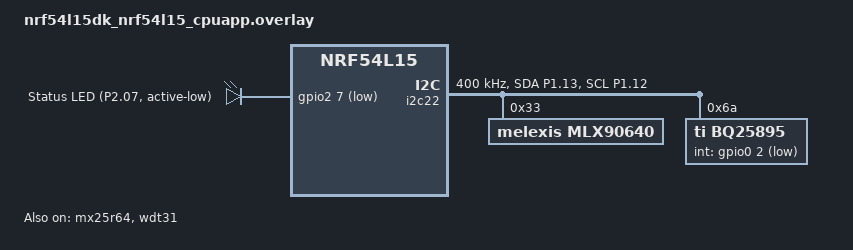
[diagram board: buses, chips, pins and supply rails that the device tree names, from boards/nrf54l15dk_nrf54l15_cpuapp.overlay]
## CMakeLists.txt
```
#
# SPDX-License-Identifier: LicenseRef-Nordic-5-Clause
#
cmake_minimum_required(VERSION 3.20.0)

# Custom DT bindings under ./dts/bindings
list(APPEND DTS_ROOT ${CMAKE_CURRENT_SOURCE_DIR})

find_package(Zephyr REQUIRED HINTS $ENV{ZEPHYR_BASE})
project(peripheral_thermal)

target_include_directories(app PRIVATE src)

target_sources(app PRIVATE
  src/main.c
  src/mlx90640_sensor.c
  src/mlx90640_i2c.c
  src/MLX90640_API.c
  src/bq25895.c
)
```

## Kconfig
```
# SPDX-License-Identifier: LicenseRef-Nordic-5-Clause

mainmenu "Peripheral Thermal Camera"

source "Kconfig.zephyr"

menu "BQ25895 battery profile"

config BQ25895_BATT_CAPACITY_MAH
	int "LiPo cell capacity (mAh)"
	default 200
	range 50 10000
	help
	  Rated capacity of the connected single-cell LiPo.
	  Fast-charge current is derived as ~0.5C (rounded to the
	  BQ25895 64 mA step). Change this when swapping to a larger pack.

config BQ25895_CHARGE_RATE_MILLIC
	int "Charge rate in milli-C (500 = 0.5C)"
	default 500
	range 100 1000
	help
	  Fast-charge rate relative to capacity. 500 = 0.5C (typical LiPo).
	  ICHG = capacity_mAh * rate / 1000, then rounded to 64 mA steps
	  (minimum 64 mA, maximum 3008 mA).

endmenu
```

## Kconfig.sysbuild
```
#
# SPDX-License-Identifier: LicenseRef-Nordic-5-Clause
#

source "share/sysbuild/Kconfig"

config NRF_DEFAULT_IPC_RADIO
	default y

config NETCORE_IPC_RADIO_BT_HCI_IPC
	default y
```

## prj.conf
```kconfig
#
# SPDX-License-Identifier: LicenseRef-Nordic-5-Clause
#
CONFIG_NCS_SAMPLES_DEFAULTS=y

CONFIG_BT=y
CONFIG_BT_PERIPHERAL=y
CONFIG_BT_DEVICE_NAME="ThermalCam"
CONFIG_BT_MAX_CONN=1
CONFIG_BT_SMP=y
CONFIG_BT_FIXED_PASSKEY=y

# Larger ATT MTU → fewer chunks per 32x24 frame
CONFIG_BT_L2CAP_TX_MTU=247
CONFIG_BT_BUF_ACL_RX_SIZE=251
CONFIG_BT_BUF_ACL_TX_SIZE=251
CONFIG_BT_CTLR_DATA_LENGTH_MAX=251
CONFIG_BT_GAP_AUTO_UPDATE_CONN_PARAMS=y

CONFIG_DK_LIBRARY=y
CONFIG_I2C=y
CONFIG_GPIO=y

# LiPo pack on BQ25895 — change when swapping to a larger cell.
CONFIG_BQ25895_BATT_CAPACITY_MAH=200
CONFIG_BQ25895_CHARGE_RATE_MILLIC=500

# Floating-point temperature calculation (Melexis API)
CONFIG_FPU=y
CONFIG_NEWLIB_LIBC=y
CONFIG_CBPRINTF_FP_SUPPORT=y

CONFIG_MAIN_STACK_SIZE=4096
CONFIG_SYSTEM_WORKQUEUE_STACK_SIZE=4096
CONFIG_HEAP_MEM_POOL_SIZE=8192

CONFIG_BT_RX_STACK_SIZE=2560
```

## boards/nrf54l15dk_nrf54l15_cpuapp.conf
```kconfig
#
# SPDX-License-Identifier: LicenseRef-Nordic-5-Clause
#
CONFIG_BT_RX_STACK_SIZE=2560
```

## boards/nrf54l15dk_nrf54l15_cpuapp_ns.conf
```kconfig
#
# SPDX-License-Identifier: LicenseRef-Nordic-5-Clause
#
CONFIG_BT_RX_STACK_SIZE=2560
CONFIG_HEAP_MEM_POOL_SIZE=8192
CONFIG_SYSTEM_WORKQUEUE_STACK_SIZE=4096
```

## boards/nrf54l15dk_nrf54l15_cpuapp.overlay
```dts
/*
 * nRF54L15 DK — MLX90640 on I2C22
 *
 * Wiring (3.3 V logic):
 *   MLX90640 VIN  -> 3V3
 *   MLX90640 GND  -> GND
 *   MLX90640 SCL  -> P1.12  (same as peripheral_status)
 *   MLX90640 SDA  -> P1.13
 *   Status LED    -> P2.07 (DT led2 / DK_LED3), active-low
 *
 * Default I2C address 0x33 (7-bit). BAB / BAA share the same register map.
 *
 * SPDX-License-Identifier: LicenseRef-Nordic-5-Clause
 */

/ {
	aliases {
		watchdog0 = &wdt31;
		battery-charger = &bq25895;
		status-led = &led2;
	};

	chosen {
		nordic,pm-ext-flash = &mx25r64;
	};
};

/* Status LED on P2.07 — external LED is active-low (same as xbox_central). */
&led2 {
	gpios = <&gpio2 7 GPIO_ACTIVE_LOW>;
	label = "Status LED (P2.07, active-low)";
};

&cpuapp_rram {
	reg = <0x0 DT_SIZE_K(1524)>;
};

&cpuapp_sram {
	reg = <0x20000000 DT_SIZE_K(256)>;
	ranges = <0x0 0x20000000 0x40000>;
};

&uart20 {
	/delete-property/ hw-flow-control;
};

&mx25r64 {
	status = "okay";
};

&wdt31 {
	status = "okay";
};

&pinctrl {
	i2c22_default: i2c22_default {
		group1 {
			psels = <NRF_PSEL(TWIM_SDA, 1, 13)>,
				<NRF_PSEL(TWIM_SCL, 1, 12)>;
			bias-pull-up;
		};
	};

	i2c22_sleep: i2c22_sleep {
		group1 {
			psels = <NRF_PSEL(TWIM_SDA, 1, 13)>,
				<NRF_PSEL(TWIM_SCL, 1, 12)>;
			low-power-enable;
			bias-pull-up;
		};
	};
};

&i2c22 {
	status = "okay";
	pinctrl-0 = <&i2c22_default>;
	pinctrl-1 = <&i2c22_sleep>;
	pinctrl-names = "default", "sleep";
	clock-frequency = <I2C_BITRATE_FAST>;
	zephyr,concat-buf-size = <256>;
	zephyr,flash-buf-max-size = <256>;

	mlx90640: mlx90640@33 {
		compatible = "melexis,mlx90640";
		reg = <0x33>;
	};

	/* BQ25895 fixed 7-bit address 0x6A. INT on P0.02 (same as xbox_central). */
	bq25895: charger@6a {
		compatible = "ti,bq25895";
		reg = <0x6a>;
		int-gpios = <&gpio0 2 (GPIO_PULL_UP | GPIO_ACTIVE_LOW)>;
	};
};
```

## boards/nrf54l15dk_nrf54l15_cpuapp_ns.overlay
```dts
/*
 * nRF54L15 DK (cpuapp_ns / TF-M) — MLX90640 on I2C22
 *
 * Wiring (3.3 V logic):
 *   MLX90640 VIN  -> 3V3
 *   MLX90640 GND  -> GND
 *   MLX90640 SCL  -> P1.12  (same as peripheral_status)
 *   MLX90640 SDA  -> P1.13
 *   Status LED    -> P2.07 (DT led2 / DK_LED3), active-low
 *
 * SPDX-License-Identifier: LicenseRef-Nordic-5-Clause
 */

/ {
	aliases {
		watchdog0 = &wdt31;
		battery-charger = &bq25895;
		status-led = &led2;
	};

	chosen {
		nordic,pm-ext-flash = &mx25r64;
	};
};

/* Status LED on P2.07 — external LED is active-low (same as xbox_central). */
&led2 {
	gpios = <&gpio2 7 GPIO_ACTIVE_LOW>;
	label = "Status LED (P2.07, active-low)";
};

&cpuapp_rram {
	reg = <0x0 DT_SIZE_K(1524)>;
};

&cpuapp_sram {
	reg = <0x20000000 DT_SIZE_K(256)>;
	ranges = <0x0 0x20000000 0x40000>;
};

&uart20 {
	/delete-property/ hw-flow-control;
};

&mx25r64 {
	status = "okay";
};

&wdt31 {
	status = "okay";
};

/* TF-M reserves default GPIOTE IRQs; use NS-safe IDs */
&gpiote20 {
	interrupts = <218 NRF_DEFAULT_IRQ_PRIORITY>;
};

&gpiote30 {
	interrupts = <268 NRF_DEFAULT_IRQ_PRIORITY>;
};

&pinctrl {
	i2c22_default: i2c22_default {
		group1 {
			psels = <NRF_PSEL(TWIM_SDA, 1, 13)>,
				<NRF_PSEL(TWIM_SCL, 1, 12)>;
			bias-pull-up;
		};
	};

	i2c22_sleep: i2c22_sleep {
		group1 {
			psels = <NRF_PSEL(TWIM_SDA, 1, 13)>,
				<NRF_PSEL(TWIM_SCL, 1, 12)>;
			low-power-enable;
			bias-pull-up;
		};
	};
};

&i2c22 {
	status = "okay";
	pinctrl-0 = <&i2c22_default>;
	pinctrl-1 = <&i2c22_sleep>;
	pinctrl-names = "default", "sleep";
	clock-frequency = <I2C_BITRATE_FAST>;
	zephyr,concat-buf-size = <256>;
	zephyr,flash-buf-max-size = <256>;

	mlx90640: mlx90640@33 {
		compatible = "melexis,mlx90640";
		reg = <0x33>;
	};

	/* BQ25895 fixed 7-bit address 0x6A. INT on P0.02 (same as xbox_central). */
	bq25895: charger@6a {
		compatible = "ti,bq25895";
		reg = <0x6a>;
		int-gpios = <&gpio0 2 (GPIO_PULL_UP | GPIO_ACTIVE_LOW)>;
	};
};
```

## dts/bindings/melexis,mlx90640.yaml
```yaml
# SPDX-License-Identifier: Apache-2.0
#
# Minimal binding — register-level I2C access in application code.

description: Melexis MLX90640 32x24 FIR array

compatible: "melexis,mlx90640"

include: [i2c-device.yaml]
```

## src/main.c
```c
/*
 * Portable MLX90640 thermal camera — BLE peripheral.
 *
 * Streams 32x24 temperature frames to a phone over a custom GATT service.
 *
 * SPDX-License-Identifier: LicenseRef-Nordic-5-Clause
 */

#include <errno.h>
#include <stddef.h>
#include <stdio.h>
#include <string.h>

#include <zephyr/bluetooth/bluetooth.h>
#include <zephyr/bluetooth/conn.h>
#include <zephyr/bluetooth/gatt.h>
#include <zephyr/bluetooth/hci.h>
#include <zephyr/bluetooth/uuid.h>
#include <zephyr/kernel.h>
#include <zephyr/sys/byteorder.h>
#include <zephyr/sys/printk.h>
#include <zephyr/sys/util.h>
#include <zephyr/types.h>

#include <dk_buttons_and_leds.h>

#include "bq25895.h"
#include "mlx90640_sensor.h"

#define DEVICE_NAME     CONFIG_BT_DEVICE_NAME
#define DEVICE_NAME_LEN (sizeof(DEVICE_NAME) - 1)

/*
 * Status LED is DK LED3 → DT led2 → P2.07 (see board overlay).
 * Single LED for run-mode indication (no separate CON LED).
 */
#define STATUS_LED             DK_LED3
#define WAKE_BUTTON_MSK        DK_BTN1_MSK
#define FIXED_PASSKEY          123456

/* Standby → deep sleep after this idle time without a phone connection. */
#define STANDBY_TO_DEEP_SLEEP_MS (5 * 60 * 1000)
/* Mode LED: solid in WORK; slow blink in STANDBY; off in DEEP_SLEEP. */
#define STANDBY_LED_ON_MS  200
#define STANDBY_LED_OFF_MS 1800

enum run_mode {
	RUN_MODE_WORK = 0,
	RUN_MODE_STANDBY,
	RUN_MODE_DEEP_SLEEP,
};

/* Thermal GATT service — unique base, distinct from peripheral_status */
#define THERMAL_SERVICE_UUID_VAL \
	BT_UUID_128_ENCODE(0x5448524d, 0x0001, 0x1000, 0x8000, 0x00805f9b34fb)

#define THERMAL_FRAME_UUID_VAL \
	BT_UUID_128_ENCODE(0x5448524d, 0x0002, 0x1000, 0x8000, 0x00805f9b34fb)

#define THERMAL_CTRL_UUID_VAL \
	BT_UUID_128_ENCODE(0x5448524d, 0x0003, 0x1000, 0x8000, 0x00805f9b34fb)

#define THERMAL_POWER_UUID_VAL \
	BT_UUID_128_ENCODE(0x5448524d, 0x0004, 0x1000, 0x8000, 0x00805f9b34fb)

#define FRAME_MAGIC          0x5448524DU /* 'THRM' */
#define FRAME_PROTO_VER      0x01
#define FRAME_HEADER_SIZE    18
#define FRAME_MAX_PAYLOAD    226 /* leaves room under typical 244-byte ATT notify */
#define PIXELS_PER_CHUNK     ((FRAME_MAX_PAYLOAD) / 2)

/*
 * GATT attr indices (see BT_GATT_SERVICE_DEFINE):
 *  0 service, 1–2 frame, 3 frame CCC, 4–5 ctrl, 6–7 power, 8 power CCC
 */
#define THERMAL_FRAME_VALUE_ATTR_IDX 2
#define THERMAL_PWR_VALUE_ATTR_IDX   7

#define PWR_FLAG_VALID       BIT(0)
#define PWR_FLAG_POWER_GOOD  BIT(1)
#define PWR_FLAG_VBUS        BIT(2)

#define POWER_HEARTBEAT_IDLE_MS     5000
#define POWER_HEARTBEAT_CHARGING_MS 1000

BUILD_ASSERT(FRAME_HEADER_SIZE + FRAME_MAX_PAYLOAD <= 244);

struct thermal_power_payload {
	uint8_t version;
	uint8_t flags;
	uint8_t charge_state;
	uint8_t vbus_state;
	uint8_t fault;
	uint8_t battery_pct;
	uint16_t batt_mv;
	uint16_t sys_mv;
	uint16_t vbus_mv;
	uint16_t charge_ma;
} __packed;

static struct bt_conn *current_conn;
static bool notify_enabled;
static bool power_notify_enabled;
static struct k_work adv_work;
static struct k_work_delayable power_work;
static struct k_work_delayable deep_sleep_work;
static struct mlx90640_frame frame_buf;
static struct thermal_power_payload power_data;
static uint8_t notify_pkt[FRAME_HEADER_SIZE + FRAME_MAX_PAYLOAD];
static enum run_mode current_mode = RUN_MODE_STANDBY;

static void capture_thread(void *p1, void *p2, void *p3);
static void power_monitor_start(void);
static void advertising_start(void);
static void mode_enter_work(void);
static void mode_enter_standby(void);
static void mode_enter_deep_sleep(void);
static void mode_wake_to_standby(void);
static const char *mode_str(enum run_mode mode);

static void frame_ccc_cfg_changed(const struct bt_gatt_attr *attr, uint16_t value)
{
	ARG_UNUSED(attr);
	notify_enabled = (value == BT_GATT_CCC_NOTIFY);
	printk("Frame notify %s\n", notify_enabled ? "on" : "off");
}

static void power_ccc_cfg_changed(const struct bt_gatt_attr *attr, uint16_t value)
{
	ARG_UNUSED(attr);
	power_notify_enabled = (value == BT_GATT_CCC_NOTIFY);
	printk("Power notify %s\n", power_notify_enabled ? "on" : "off");
	if (power_notify_enabled) {
		(void)k_work_reschedule(&power_work, K_NO_WAIT);
	}
}

static ssize_t ctrl_write(struct bt_conn *conn, const struct bt_gatt_attr *attr,
			  const void *buf, uint16_t len, uint16_t offset,
			  uint8_t flags)
{
	const uint8_t *data = buf;
	int err;

	ARG_UNUSED(conn);
	ARG_UNUSED(attr);
	ARG_UNUSED(flags);

	if (offset != 0 || len < 1) {
		return BT_GATT_ERR(BT_ATT_ERR_INVALID_OFFSET);
	}

	/* Byte0 = Melexis refresh rate code (0=0.5Hz … 5=16Hz). */
	err = mlx90640_set_refresh_rate(data[0]);
	if (err) {
		return BT_GATT_ERR(BT_ATT_ERR_VALUE_NOT_ALLOWED);
	}

	printk("Refresh rate code set to %u\n", data[0]);
	return len;
}

static ssize_t power_read(struct bt_conn *conn, const struct bt_gatt_attr *attr,
			  void *buf, uint16_t len, uint16_t offset)
{
	ARG_UNUSED(attr);
	return bt_gatt_attr_read(conn, attr, buf, len, offset, &power_data,
				 sizeof(power_data));
}

BT_GATT_SERVICE_DEFINE(thermal_svc,
	BT_GATT_PRIMARY_SERVICE(BT_UUID_DECLARE_128(THERMAL_SERVICE_UUID_VAL)),
	BT_GATT_CHARACTERISTIC(BT_UUID_DECLARE_128(THERMAL_FRAME_UUID_VAL),
			       BT_GATT_CHRC_NOTIFY,
			       BT_GATT_PERM_NONE,
			       NULL, NULL, NULL),
	BT_GATT_CCC(frame_ccc_cfg_changed, BT_GATT_PERM_READ | BT_GATT_PERM_WRITE),
	BT_GATT_CHARACTERISTIC(BT_UUID_DECLARE_128(THERMAL_CTRL_UUID_VAL),
			       BT_GATT_CHRC_WRITE | BT_GATT_CHRC_WRITE_WITHOUT_RESP,
			       BT_GATT_PERM_WRITE,
			       NULL, ctrl_write, NULL),
	BT_GATT_CHARACTERISTIC(BT_UUID_DECLARE_128(THERMAL_POWER_UUID_VAL),
			       BT_GATT_CHRC_READ | BT_GATT_CHRC_NOTIFY,
			       BT_GATT_PERM_READ,
			       power_read, NULL, NULL),
	BT_GATT_CCC(power_ccc_cfg_changed, BT_GATT_PERM_READ | BT_GATT_PERM_WRITE),
);

static void send_frame_chunks(const struct mlx90640_frame *fr)
{
	const uint16_t total_pixels = MLX90640_PIXELS;
	const uint8_t chunk_cnt =
		(uint8_t)DIV_ROUND_UP(total_pixels, PIXELS_PER_CHUNK);
	int err;

	if (!notify_enabled || current_conn == NULL) {
		return;
	}

	for (uint8_t chunk = 0; chunk < chunk_cnt; chunk++) {
		uint16_t start = (uint16_t)chunk * PIXELS_PER_CHUNK;
		uint16_t count = MIN((uint16_t)PIXELS_PER_CHUNK,
				     (uint16_t)(total_pixels - start));
		uint16_t payload = count * 2U;
		uint8_t *p = notify_pkt;

		sys_put_be32(FRAME_MAGIC, p); p += 4;
		*p++ = FRAME_PROTO_VER;
		*p++ = 0; /* flags */
		sys_put_le16(fr->seq, p); p += 2;
		*p++ = chunk;
		*p++ = chunk_cnt;
		*p++ = MLX90640_WIDTH;
		*p++ = MLX90640_HEIGHT;
		sys_put_le16((uint16_t)fr->ta_cC, p); p += 2;
		sys_put_le16((uint16_t)fr->tmin_cC, p); p += 2;
		sys_put_le16((uint16_t)fr->tmax_cC, p); p += 2;

		for (uint16_t i = 0; i < count; i++) {
			sys_put_le16((uint16_t)fr->pixels[start + i], p);
			p += 2;
		}

		err = bt_gatt_notify(current_conn,
				     &thermal_svc.attrs[THERMAL_FRAME_VALUE_ATTR_IDX],
				     notify_pkt, FRAME_HEADER_SIZE + payload);
		if (err) {
			printk("notify chunk %u failed: %d\n", chunk, err);
			return;
		}

		/* Give the controller a breath between large notifies */
		k_msleep(2);
	}
}

static void capture_thread(void *p1, void *p2, void *p3)
{
	ARG_UNUSED(p1);
	ARG_UNUSED(p2);
	ARG_UNUSED(p3);

	k_msleep(1000);

	while (1) {
		/* Thermal IR only in WORK (phone connected + notify on). */
		if (current_mode != RUN_MODE_WORK || !mlx90640_available() ||
		    !notify_enabled || current_conn == NULL) {
			k_msleep(100);
			continue;
		}

		int err = mlx90640_capture(&frame_buf);

		if (err == 0) {
			send_frame_chunks(&frame_buf);
			printk("Frame #%u  Ta=%.2f  min=%.2f  max=%.2f\n",
			       frame_buf.seq,
			       frame_buf.ta_cC / 100.0,
			       frame_buf.tmin_cC / 100.0,
			       frame_buf.tmax_cC / 100.0);
		} else {
			printk("capture failed: %d\n", err);
			k_msleep(50);
		}
	}
}

K_THREAD_DEFINE(capture_tid, 4096, capture_thread, NULL, NULL, NULL, 5, 0, 0);

static void power_work_handler(struct k_work *work)
{
	struct bq25895_status st;
	struct thermal_power_payload payload = {
		.version = 1U,
	};
	uint32_t next_ms = POWER_HEARTBEAT_IDLE_MS;
	bool charging;
	int err;

	ARG_UNUSED(work);

	if (current_mode == RUN_MODE_DEEP_SLEEP) {
		return;
	}

	err = bq25895_read(&st);
	if (err == 0) {
		payload.flags = PWR_FLAG_VALID;
		if (st.power_good) {
			payload.flags |= PWR_FLAG_POWER_GOOD;
		}
		if (st.vbus_present) {
			payload.flags |= PWR_FLAG_VBUS;
		}
		payload.charge_state = (uint8_t)st.charge_state;
		payload.vbus_state = (uint8_t)st.vbus_state;
		payload.fault = st.fault;
		payload.battery_pct = st.battery_pct;
		payload.batt_mv = st.batt_mv;
		payload.sys_mv = st.sys_mv;
		payload.vbus_mv = st.vbus_mv;
		payload.charge_ma = st.charge_ma;

		charging = (st.charge_state == BQ25895_CHG_PRE_CHARGE) ||
			   (st.charge_state == BQ25895_CHG_FAST_CHARGING) ||
			   (st.vbus_present &&
			    st.charge_state != BQ25895_CHG_NOT_CHARGING);
		if (st.vbus_present || charging) {
			next_ms = POWER_HEARTBEAT_CHARGING_MS;
		}

		printk("BQ25895 batt=%umV %u%% vbus=%umV(%s) %s\n",
		       st.batt_mv, st.battery_pct, st.vbus_mv,
		       bq25895_vbus_state_str(st.vbus_state),
		       bq25895_charge_state_str(st.charge_state));
	} else if (err != -ENODEV) {
		printk("BQ25895 read failed: %d\n", err);
	}

	power_data = payload;

	if (power_notify_enabled && current_conn != NULL) {
		err = bt_gatt_notify(current_conn,
				     &thermal_svc.attrs[THERMAL_PWR_VALUE_ATTR_IDX],
				     &payload, sizeof(payload));
		if (err && err != -ENOTCONN && err != -EAGAIN) {
			printk("Power notify failed: %d\n", err);
		}
	}

	if (current_mode != RUN_MODE_DEEP_SLEEP) {
		k_work_schedule(&power_work, K_MSEC(next_ms));
	}
}

static void bq25895_on_int(void)
{
	if (current_mode != RUN_MODE_DEEP_SLEEP) {
		(void)k_work_reschedule(&power_work, K_NO_WAIT);
	}
}

static void power_monitor_start(void)
{
	int err;

	bq25895_set_event_cb(bq25895_on_int);
	k_work_init_delayable(&power_work, power_work_handler);

	err = bq25895_init();
	if (err || !bq25895_available()) {
		printk("BQ25895 unavailable (err %d) — power status disabled\n",
		       err);
		return;
	}

	(void)k_work_schedule(&power_work, K_MSEC(500));
}

static const struct bt_data ad[] = {
	BT_DATA_BYTES(BT_DATA_FLAGS, (BT_LE_AD_GENERAL | BT_LE_AD_NO_BREDR)),
	BT_DATA(BT_DATA_NAME_COMPLETE, DEVICE_NAME, DEVICE_NAME_LEN),
};

static const struct bt_data sd[] = {
	BT_DATA_BYTES(BT_DATA_UUID128_ALL, THERMAL_SERVICE_UUID_VAL),
};

static void adv_work_handler(struct k_work *work)
{
	int err;

	ARG_UNUSED(work);

	if (current_mode == RUN_MODE_DEEP_SLEEP) {
		return;
	}

	err = bt_le_adv_start(BT_LE_ADV_CONN_FAST_2, ad, ARRAY_SIZE(ad), sd,
			      ARRAY_SIZE(sd));
	if (err) {
		printk("Advertising failed to start (err %d)\n", err);
		return;
	}
	printk("Advertising started as \"%s\"\n", DEVICE_NAME);
}

static void advertising_start(void)
{
	if (current_mode == RUN_MODE_DEEP_SLEEP) {
		return;
	}
	k_work_submit(&adv_work);
}

static void advertising_stop(void)
{
	int err = bt_le_adv_stop();

	if (err && err != -EALREADY) {
		printk("Advertising stop failed (err %d)\n", err);
	}
}

static const char *mode_str(enum run_mode mode)
{
	switch (mode) {
	case RUN_MODE_WORK:
		return "WORK";
	case RUN_MODE_STANDBY:
		return "STANDBY";
	case RUN_MODE_DEEP_SLEEP:
		return "DEEP_SLEEP";
	default:
		return "?";
	}
}

static void deep_sleep_work_handler(struct k_work *work)
{
	ARG_UNUSED(work);
	if (current_mode == RUN_MODE_STANDBY) {
		mode_enter_deep_sleep();
	}
}

static void mode_enter_work(void)
{
	(void)k_work_cancel_delayable(&deep_sleep_work);
	current_mode = RUN_MODE_WORK;
	dk_set_led_on(STATUS_LED);
	printk("Mode → %s (phone connected, IR active)\n", mode_str(current_mode));
}

static void mode_enter_standby(void)
{
	current_mode = RUN_MODE_STANDBY;
	(void)k_work_reschedule(&deep_sleep_work,
				K_MSEC(STANDBY_TO_DEEP_SLEEP_MS));
	if (bq25895_available()) {
		(void)k_work_reschedule(&power_work, K_MSEC(500));
	}
	advertising_start();
	printk("Mode → %s (no phone, IR idle, deep sleep in %u s)\n",
	       mode_str(current_mode), STANDBY_TO_DEEP_SLEEP_MS / 1000U);
}

static void mode_enter_deep_sleep(void)
{
	if (current_mode == RUN_MODE_DEEP_SLEEP) {
		return;
	}

	current_mode = RUN_MODE_DEEP_SLEEP;
	(void)k_work_cancel_delayable(&deep_sleep_work);
	(void)k_work_cancel_delayable(&power_work);
	notify_enabled = false;
	power_notify_enabled = false;
	advertising_stop();
	dk_set_led_off(STATUS_LED);
	printk("Mode → %s (BLE+IR off; press Button1 to wake)\n",
	       mode_str(current_mode));
}

static void mode_wake_to_standby(void)
{
	if (current_mode != RUN_MODE_DEEP_SLEEP) {
		return;
	}

	printk("Wake button — leaving DEEP_SLEEP\n");
	mode_enter_standby();
}

static void button_changed(uint32_t button_state, uint32_t has_changed)
{
	if ((has_changed & WAKE_BUTTON_MSK) == 0U) {
		return;
	}
	/* Active on press (button down). */
	if ((button_state & WAKE_BUTTON_MSK) == 0U) {
		return;
	}

	if (current_mode == RUN_MODE_DEEP_SLEEP) {
		mode_wake_to_standby();
	}
}

static void connected(struct bt_conn *conn, uint8_t err)
{
	char addr[BT_ADDR_LE_STR_LEN];

	if (err) {
		printk("Connection failed, err 0x%02x\n", err);
		return;
	}

	bt_addr_le_to_str(bt_conn_get_dst(conn), addr, sizeof(addr));
	printk("Connected %s\n", addr);

	current_conn = bt_conn_ref(conn);
	mode_enter_work();
}

static void mtu_updated(struct bt_conn *conn, uint16_t tx, uint16_t rx)
{
	printk("MTU updated: TX %u RX %u\n", tx, rx);
}

static struct bt_gatt_cb gatt_callbacks = {
	.att_mtu_updated = mtu_updated,
};

static void disconnected(struct bt_conn *conn, uint8_t reason)
{
	printk("Disconnected, reason 0x%02x\n", reason);
	notify_enabled = false;
	power_notify_enabled = false;

	if (current_conn) {
		bt_conn_unref(current_conn);
		current_conn = NULL;
	}

	if (current_mode != RUN_MODE_DEEP_SLEEP) {
		mode_enter_standby();
	}
}

static void recycled_cb(void)
{
	if (current_mode != RUN_MODE_DEEP_SLEEP) {
		advertising_start();
	}
}

BT_CONN_CB_DEFINE(conn_callbacks) = {
	.connected = connected,
	.disconnected = disconnected,
	.recycled = recycled_cb,
};

int main(void)
{
	int err;

	printk("MLX90640 portable thermal camera\n");

	err = dk_leds_init();
	if (err) {
		printk("LEDs init failed (err %d)\n", err);
	}

	err = dk_buttons_init(button_changed);
	if (err) {
		printk("Buttons init failed (err %d)\n", err);
	}

	err = mlx90640_init();
	if (err) {
		printk("MLX90640 init failed (%d) — BLE still starts for bring-up\n",
		       err);
	}

	power_monitor_start();
	k_work_init_delayable(&deep_sleep_work, deep_sleep_work_handler);

	err = bt_enable(NULL);
	if (err) {
		printk("Bluetooth init failed (err %d)\n", err);
		return 0;
	}

	bt_gatt_cb_register(&gatt_callbacks);

#if defined(CONFIG_BT_FIXED_PASSKEY)
	err = bt_passkey_set(FIXED_PASSKEY);
	if (err) {
		printk("Passkey set failed (err %d)\n", err);
	} else {
		printk("Fixed passkey: %d\n", FIXED_PASSKEY);
	}
#endif

	k_work_init(&adv_work, adv_work_handler);

	mode_enter_standby();

	for (;;) {
		switch (current_mode) {
		case RUN_MODE_WORK:
			dk_set_led_on(STATUS_LED);
			k_sleep(K_MSEC(200));
			break;
		case RUN_MODE_STANDBY:
			dk_set_led_on(STATUS_LED);
			k_sleep(K_MSEC(STANDBY_LED_ON_MS));
			if (current_mode == RUN_MODE_STANDBY) {
				dk_set_led_off(STATUS_LED);
				k_sleep(K_MSEC(STANDBY_LED_OFF_MS));
			}
			break;
		case RUN_MODE_DEEP_SLEEP:
		default:
			dk_set_led_off(STATUS_LED);
			k_sleep(K_MSEC(500));
			break;
		}
	}
}
```

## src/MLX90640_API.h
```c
/**
 * @copyright (C) 2017 Melexis N.V.
 *
 * Licensed under the Apache License, Version 2.0 (the "License");
 * you may not use this file except in compliance with the License.
 * You may obtain a copy of the License at
 *
 *     http://www.apache.org/licenses/LICENSE-2.0
 *
 * Unless required by applicable law or agreed to in writing, software
 * distributed under the License is distributed on an "AS IS" BASIS,
 * WITHOUT WARRANTIES OR CONDITIONS OF ANY KIND, either express or implied.
 * See the License for the specific language governing permissions and
 * limitations under the License.
 *
 */
#ifndef _MLX90640_API_H_
#define _MLX90640_API_H_

#define MLX90640_NO_ERROR 0
#define MLX90640_I2C_NACK_ERROR 1
#define MLX90640_I2C_WRITE_ERROR 2
#define MLX90640_BROKEN_PIXELS_NUM_ERROR 3
#define MLX90640_OUTLIER_PIXELS_NUM_ERROR 4
#define MLX90640_BAD_PIXELS_NUM_ERROR 5
#define MLX90640_ADJACENT_BAD_PIXELS_ERROR 6
#define MLX90640_EEPROM_DATA_ERROR 7
#define MLX90640_FRAME_DATA_ERROR 8
#define MLX90640_MEAS_TRIGGER_ERROR 9

/* Avoid clash with Zephyr's BIT_MASK() */
#define MLX90640_BIT_MASK(x) (1UL << (x))
#define MLX90640_REG_MASK(sbit, nbits) ~((~(~0UL << (nbits))) << (sbit))

#define MLX90640_EEPROM_START_ADDRESS 0x2400
#define MLX90640_EEPROM_DUMP_NUM 832
#define MLX90640_PIXEL_DATA_START_ADDRESS 0x0400
#define MLX90640_PIXEL_NUM 768
#define MLX90640_LINE_NUM 24
#define MLX90640_COLUMN_NUM 32
#define MLX90640_LINE_SIZE 32
#define MLX90640_COLUMN_SIZE 24
#define MLX90640_AUX_DATA_START_ADDRESS 0x0700
#define MLX90640_AUX_NUM 64
#define MLX90640_STATUS_REG 0x8000
#define MLX90640_INIT_STATUS_VALUE 0x0030
#define MLX90640_STAT_FRAME_MASK MLX90640_BIT_MASK(0)
#define MLX90640_GET_FRAME(reg_value) (reg_value & MLX90640_STAT_FRAME_MASK)
#define MLX90640_STAT_DATA_READY_MASK MLX90640_BIT_MASK(3)
#define MLX90640_GET_DATA_READY(reg_value) (reg_value & MLX90640_STAT_DATA_READY_MASK)

#define MLX90640_CTRL_REG 0x800D
#define MLX90640_CTRL_TRIG_READY_MASK MLX90640_BIT_MASK(15)
#define MLX90640_CTRL_REFRESH_SHIFT 7
#define MLX90640_CTRL_REFRESH_MASK MLX90640_REG_MASK(MLX90640_CTRL_REFRESH_SHIFT, 3)
#define MLX90640_CTRL_RESOLUTION_SHIFT 10
#define MLX90640_CTRL_RESOLUTION_MASK MLX90640_REG_MASK(MLX90640_CTRL_RESOLUTION_SHIFT, 2)
#define MLX90640_CTRL_MEAS_MODE_SHIFT 12
#define MLX90640_CTRL_MEAS_MODE_MASK MLX90640_BIT_MASK(12)

#define MLX90640_MS_BYTE_SHIFT 8
#define MLX90640_MS_BYTE_MASK 0xFF00
#define MLX90640_LS_BYTE_MASK 0x00FF
#define MLX90640_MS_BYTE(reg16) ((reg16 & MLX90640_MS_BYTE_MASK) >> MLX90640_MS_BYTE_SHIFT)
#define MLX90640_LS_BYTE(reg16) (reg16 & MLX90640_LS_BYTE_MASK)
#define MLX90640_MSBITS_6_MASK 0xFC00
#define MLX90640_LSBITS_10_MASK 0x03FF
#define MLX90640_NIBBLE1_MASK 0x000F
#define MLX90640_NIBBLE2_MASK 0x00F0
#define MLX90640_NIBBLE3_MASK 0x0F00
#define MLX90640_NIBBLE4_MASK 0xF000
#define MLX90640_NIBBLE1(reg16) ((reg16 & MLX90640_NIBBLE1_MASK))
#define MLX90640_NIBBLE2(reg16) ((reg16 & MLX90640_NIBBLE2_MASK) >> 4)
#define MLX90640_NIBBLE3(reg16) ((reg16 & MLX90640_NIBBLE3_MASK) >> 8)
#define MLX90640_NIBBLE4(reg16) ((reg16 & MLX90640_NIBBLE4_MASK) >> 12)

#define POW2(x) pow(2, (double)x) 

#define SCALEALPHA 0.000001
    
typedef struct
    {
        int16_t kVdd;
        int16_t vdd25;
        float KvPTAT;
        float KtPTAT;
        uint16_t vPTAT25;
        float alphaPTAT;
        int16_t gainEE;
        float tgc;
        float cpKv;
        float cpKta;
        uint8_t resolutionEE;
        uint8_t calibrationModeEE;
        float KsTa;
        float ksTo[5];
        int16_t ct[5];
        uint16_t alpha[768];    
        uint8_t alphaScale;
        int16_t offset[768];    
        int8_t kta[768];
        uint8_t ktaScale;    
        int8_t kv[768];
        uint8_t kvScale;
        float cpAlpha[2];
        int16_t cpOffset[2];
        float ilChessC[3]; 
        uint16_t brokenPixels[5];
        uint16_t outlierPixels[5];  
    } paramsMLX90640;
    
    int MLX90640_DumpEE(uint8_t slaveAddr, uint16_t *eeData);
    int MLX90640_SynchFrame(uint8_t slaveAddr);
    int MLX90640_TriggerMeasurement(uint8_t slaveAddr);
    int MLX90640_GetFrameData(uint8_t slaveAddr, uint16_t *frameData);
    int MLX90640_ExtractParameters(uint16_t *eeData, paramsMLX90640 *mlx90640);
    float MLX90640_GetVdd(uint16_t *frameData, const paramsMLX90640 *params);
    float MLX90640_GetTa(uint16_t *frameData, const paramsMLX90640 *params);
    void MLX90640_GetImage(uint16_t *frameData, const paramsMLX90640 *params, float *result);
    void MLX90640_CalculateTo(uint16_t *frameData, const paramsMLX90640 *params, float emissivity, float tr, float *result);
    int MLX90640_SetResolution(uint8_t slaveAddr, uint8_t resolution);
    int MLX90640_GetCurResolution(uint8_t slaveAddr);
    int MLX90640_SetRefreshRate(uint8_t slaveAddr, uint8_t refreshRate);   
    int MLX90640_GetRefreshRate(uint8_t slaveAddr);  
    int MLX90640_GetSubPageNumber(uint16_t *frameData);
    int MLX90640_GetCurMode(uint8_t slaveAddr); 
    int MLX90640_SetInterleavedMode(uint8_t slaveAddr);
    int MLX90640_SetChessMode(uint8_t slaveAddr);
    void MLX90640_BadPixelsCorrection(uint16_t *pixels, float *to, int mode, paramsMLX90640 *params);
    
#endif
```

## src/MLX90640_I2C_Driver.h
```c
/**
 * @copyright (C) 2017 Melexis N.V.
 * Licensed under the Apache License, Version 2.0
 */
#ifndef _MLX90640_I2C_Driver_H_
#define _MLX90640_I2C_Driver_H_

#include <stdint.h>

void MLX90640_I2CInit(void);
int MLX90640_I2CGeneralReset(void);
int MLX90640_I2CRead(uint8_t slaveAddr, uint16_t startAddress,
		     uint16_t nMemAddressRead, uint16_t *data);
int MLX90640_I2CWrite(uint8_t slaveAddr, uint16_t writeAddress, uint16_t data);
void MLX90640_I2CFreqSet(int freq);

#endif
```

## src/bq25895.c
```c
/*
 * SPDX-License-Identifier: LicenseRef-Nordic-5-Clause
 */

#include "bq25895.h"

#include <errno.h>
#include <stddef.h>
#include <zephyr/device.h>
#include <zephyr/devicetree.h>
#include <zephyr/drivers/gpio.h>
#include <zephyr/drivers/i2c.h>
#include <zephyr/kernel.h>
#include <zephyr/sys/printk.h>
#include <zephyr/sys/util.h>

/* App-local logging (no hub_log dependency). */
#define HUB_ERR(...)   printk("E: BQ25895: " __VA_ARGS__)
#define HUB_WRN(...)   printk("W: BQ25895: " __VA_ARGS__)
#define HUB_INF(...)   printk("I: BQ25895: " __VA_ARGS__)
#define HUB_FORCE(...) printk(__VA_ARGS__)

/* Register map (subset used for status reporting / bring-up). */
#define BQ25895_REG_IINLIM     0x00 /* EN_HIZ / EN_ILIM / IINLIM */
#define BQ25895_REG_ADC_CTRL   0x02 /* CONV_RATE / ICO / HVDCP / MAXC / DPDM */
#define BQ25895_REG_SYS_CTRL   0x03 /* OTG_CONFIG / CHG_CONFIG */
#define BQ25895_REG_ICHG       0x04 /* ICHG[6:0], 64 mA/step */
#define BQ25895_REG_IPRETERM   0x05 /* IPRECHG[7:4] / ITERM[3:0], 64 mA/step */
#define BQ25895_REG_CHG_VOLT   0x06 /* VREG / BATLOWV / VRECHG */
#define BQ25895_REG_TIMER      0x07 /* EN_TERM / WATCHDOG / EN_TIMER */
#define BQ25895_REG_CHG_STATUS 0x0B /* VBUS_STAT / CHRG_STAT / PG_STAT */
#define BQ25895_REG_FAULT      0x0C
#define BQ25895_REG_BATV       0x0E /* THERM_STAT[7], BATV[6:0] */
#define BQ25895_REG_SYSV       0x0F /* SYSV[6:0] */
#define BQ25895_REG_VBUSV      0x11 /* VBUS_GD[7], VBUSV[6:0] */
#define BQ25895_REG_ICHGR      0x12 /* ICHGR[6:0] */

#define BQ25895_ADC_CONV_RATE  BIT(6) /* 1 = continuous 1 Hz ADC */
#define BQ25895_ICO_EN         BIT(4)
#define BQ25895_HVDCP_EN       BIT(3)
#define BQ25895_MAXC_EN        BIT(2)
#define BQ25895_OTG_CONFIG     BIT(5)
#define BQ25895_CHG_CONFIG     BIT(4)
#define BQ25895_VRECHG         BIT(0) /* 1 = 200 mV recharge threshold */
#define BQ25895_EN_TERM        BIT(7) /* REG07: 1 = terminate on ITERM */
#define BQ25895_WATCHDOG_MASK  (BIT(5) | BIT(4))
#define BQ25895_EN_ILIM        BIT(6)
#define BQ25895_IINLIM_MASK    0x3FU
#define BQ25895_ICHG_MASK      0x7FU
#define BQ25895_IPRECHG_SHIFT  4
#define BQ25895_IPRETERM_MASK  0xFFU
#define BQ25895_VREG_MASK      0xFCU /* REG06[7:2] */

/* VREG = 3.840 V + code×16 mV; 4.208 V → code 23. */
#define BQ25895_VREG_4208_MV_CODE 23U
#define BQ25895_VREG_OFFSET_MV    3840U
#define BQ25895_VREG_STEP_MV      16U

/* Current programming (datasheet). */
#define BQ25895_ICHG_STEP_MA      64U
#define BQ25895_ICHG_MAX_MA       3008U
#define BQ25895_IPRETERM_STEP_MA  64U
#define BQ25895_IPRETERM_MAX_MA   1024U
#define BQ25895_IINLIM_OFFSET_MA  100U
#define BQ25895_IINLIM_STEP_MA    50U

/*
 * Battery profile — default 200 mAh LiPo @ ~0.5C.
 * Override via Kconfig (menuconfig / prj.conf) when swapping packs, e.g.:
 *   CONFIG_BQ25895_BATT_CAPACITY_MAH=1000
 */
#ifndef CONFIG_BQ25895_BATT_CAPACITY_MAH
#define CONFIG_BQ25895_BATT_CAPACITY_MAH 200
#endif
#ifndef CONFIG_BQ25895_CHARGE_RATE_MILLIC
#define CONFIG_BQ25895_CHARGE_RATE_MILLIC 500
#endif

#define BQ25895_BATT_CAPACITY_MAH ((uint32_t)CONFIG_BQ25895_BATT_CAPACITY_MAH)
#define BQ25895_CHARGE_RATE_MILLIC ((uint32_t)CONFIG_BQ25895_CHARGE_RATE_MILLIC)

/* USB500-class input limit — enough headroom for small ICHG + system load. */
#define BQ25895_IINLIM_TARGET_MA  500U

/* ADC scaling per datasheet. */
#define BQ25895_BATV_OFFSET_MV  2304U
#define BQ25895_BATV_STEP_MV    20U
#define BQ25895_SYSV_OFFSET_MV  2304U
#define BQ25895_SYSV_STEP_MV    20U
#define BQ25895_VBUSV_OFFSET_MV 2600U
#define BQ25895_VBUSV_STEP_MV   100U
#define BQ25895_ICHGR_STEP_MA   50U

/* Rough single-cell Li-ion SoC end points. */
#define BQ25895_BATT_EMPTY_MV 3300U
#define BQ25895_BATT_FULL_MV  4200U

static uint8_t soc_from_mv(uint16_t mv)
{
	if (mv <= BQ25895_BATT_EMPTY_MV) {
		return 0U;
	}
	if (mv >= BQ25895_BATT_FULL_MV) {
		return 100U;
	}
	return (uint8_t)(((uint32_t)(mv - BQ25895_BATT_EMPTY_MV) * 100U) /
			 (BQ25895_BATT_FULL_MV - BQ25895_BATT_EMPTY_MV));
}

/** Round @p ma up to @p step, clamp to [step, max]. */
static uint16_t round_current_ma(uint32_t ma, uint16_t step, uint16_t max_ma)
{
	uint32_t rounded;

	if (ma < step) {
		return step;
	}
	rounded = ((ma + (step / 2U)) / step) * step;
	if (rounded < step) {
		rounded = step;
	}
	if (rounded > max_ma) {
		rounded = max_ma;
	}
	return (uint16_t)rounded;
}

static uint16_t profile_ichg_ma(void)
{
	uint32_t target =
		(BQ25895_BATT_CAPACITY_MAH * BQ25895_CHARGE_RATE_MILLIC) / 1000U;

	return round_current_ma(target, BQ25895_ICHG_STEP_MA, BQ25895_ICHG_MAX_MA);
}

/** Termination / precharge ≈ 0.1C, floored at chip minimum 64 mA. */
static uint16_t profile_iterm_ma(void)
{
	uint32_t target = (BQ25895_BATT_CAPACITY_MAH + 9U) / 10U;

	return round_current_ma(target, BQ25895_IPRETERM_STEP_MA,
				BQ25895_IPRETERM_MAX_MA);
}

static uint8_t encode_ichg(uint16_t ma)
{
	return (uint8_t)((ma / BQ25895_ICHG_STEP_MA) & BQ25895_ICHG_MASK);
}

static uint8_t encode_ipreterm_nibble(uint16_t ma)
{
	uint16_t code;

	if (ma < BQ25895_IPRETERM_STEP_MA) {
		ma = BQ25895_IPRETERM_STEP_MA;
	}
	code = (uint16_t)(ma / BQ25895_IPRETERM_STEP_MA);
	if (code == 0U) {
		code = 1U;
	}
	if (code > 16U) {
		code = 16U;
	}
	/* REG05: field value N programs (N+1)*64 mA → store N = code-1. */
	return (uint8_t)(code - 1U);
}

static uint8_t encode_iinlim(uint16_t ma)
{
	uint16_t code;

	if (ma < BQ25895_IINLIM_OFFSET_MA) {
		ma = BQ25895_IINLIM_OFFSET_MA;
	}
	code = (uint16_t)((ma - BQ25895_IINLIM_OFFSET_MA) / BQ25895_IINLIM_STEP_MA);
	if (code > BQ25895_IINLIM_MASK) {
		code = BQ25895_IINLIM_MASK;
	}
	return (uint8_t)code;
}


#if DT_HAS_ALIAS(battery_charger)

#define BQ25895_NODE DT_ALIAS(battery_charger)
#define BQ25895_HAS_INT DT_NODE_HAS_PROP(BQ25895_NODE, int_gpios)

/* Coalesce DPDM / multi-fault INT bursts before touching I2C. */
#define BQ25895_INT_DEBOUNCE_MS 30

static const struct i2c_dt_spec charger = I2C_DT_SPEC_GET(BQ25895_NODE);

static bq25895_event_cb_t event_cb;
static bool irq_armed;

#if BQ25895_HAS_INT
static const struct gpio_dt_spec int_gpio = GPIO_DT_SPEC_GET(BQ25895_NODE, int_gpios);
static struct gpio_callback int_cb_data;
static struct k_work_delayable int_work;

static void bq25895_int_work_handler(struct k_work *work)
{
	bq25895_event_cb_t cb = event_cb;

	ARG_UNUSED(work);

	if (cb != NULL) {
		cb();
	}
}

static void bq25895_int_isr(const struct device *port, struct gpio_callback *cb,
			    uint32_t pins)
{
	ARG_UNUSED(port);
	ARG_UNUSED(cb);
	ARG_UNUSED(pins);

	(void)k_work_reschedule(&int_work, K_MSEC(BQ25895_INT_DEBOUNCE_MS));
}

static int bq25895_irq_init(void)
{
	int err;

	if (!gpio_is_ready_dt(&int_gpio)) {
		HUB_ERR("BQ25895 INT GPIO not ready\n");
		return -ENODEV;
	}

	err = gpio_pin_configure_dt(&int_gpio, GPIO_INPUT);
	if (err) {
		HUB_ERR("BQ25895 INT configure failed: %d\n", err);
		return err;
	}

	err = gpio_pin_interrupt_configure_dt(&int_gpio, GPIO_INT_EDGE_TO_ACTIVE);
	if (err) {
		HUB_ERR("BQ25895 INT irq configure failed: %d\n", err);
		return err;
	}

	k_work_init_delayable(&int_work, bq25895_int_work_handler);
	gpio_init_callback(&int_cb_data, bq25895_int_isr, BIT(int_gpio.pin));
	err = gpio_add_callback(int_gpio.port, &int_cb_data);
	if (err) {
		HUB_ERR("BQ25895 INT callback add failed: %d\n", err);
		return err;
	}

	irq_armed = true;
	HUB_INF("BQ25895 INT on %s.%u (edge-to-active, %u ms debounce)\n",
		int_gpio.port->name, int_gpio.pin, BQ25895_INT_DEBOUNCE_MS);
	return 0;
}
#else /* !BQ25895_HAS_INT */
static int bq25895_irq_init(void)
{
	HUB_WRN("BQ25895 int-gpios missing — IRQ disabled\n");
	irq_armed = false;
	return 0;
}
#endif /* BQ25895_HAS_INT */

bool bq25895_available(void)
{
	return device_is_ready(charger.bus);
}

bool bq25895_irq_ready(void)
{
	return irq_armed;
}

void bq25895_set_event_cb(bq25895_event_cb_t cb)
{
	event_cb = cb;
}

/*
 * Defaults leave HVDCP/MaxCharge/ICO on. On a plain 5 V USB/bench supply that
 * causes PUMPX current pulses (VBUS dips). Keep OTG/boost enabled so battery
 * can power the onboard rail via PMID when VBUS is absent.
 *
 * Charge currents follow the LiPo capacity profile (see Kconfig /
 * BQ25895_BATT_CAPACITY_MAH) so a 200 mAh cell is not hit with the chip's
 * default ~2 A ICHG.
 */
static int bq25895_apply_safe_config(void)
{
	uint8_t reg;
	uint16_t ichg_ma;
	uint16_t iterm_ma;
	int err;

	ichg_ma = profile_ichg_ma();
	iterm_ma = profile_iterm_ma();

	err = i2c_reg_read_byte_dt(&charger, BQ25895_REG_ADC_CTRL, &reg);
	if (err) {
		return err;
	}
	reg |= BQ25895_ADC_CONV_RATE;
	reg &= (uint8_t)~(BQ25895_ICO_EN | BQ25895_HVDCP_EN | BQ25895_MAXC_EN);
	err = i2c_reg_write_byte_dt(&charger, BQ25895_REG_ADC_CTRL, reg);
	if (err) {
		return err;
	}

	err = i2c_reg_read_byte_dt(&charger, BQ25895_REG_SYS_CTRL, &reg);
	if (err) {
		return err;
	}
	/* Charge on; keep OTG/boost on so BAT can supply onboard rail via PMID. */
	reg |= BQ25895_CHG_CONFIG | BQ25895_OTG_CONFIG;
	err = i2c_reg_write_byte_dt(&charger, BQ25895_REG_SYS_CTRL, reg);
	if (err) {
		return err;
	}

	/* REG00: keep EN_ILIM, set IINLIM (USB500). D+/D- may overwrite later. */
	err = i2c_reg_read_byte_dt(&charger, BQ25895_REG_IINLIM, &reg);
	if (err) {
		return err;
	}
	reg = (uint8_t)((reg & (uint8_t)~BQ25895_IINLIM_MASK) |
			encode_iinlim(BQ25895_IINLIM_TARGET_MA) | BQ25895_EN_ILIM);
	err = i2c_reg_write_byte_dt(&charger, BQ25895_REG_IINLIM, reg);
	if (err) {
		return err;
	}

	/* REG04: fast-charge current from capacity profile. */
	err = i2c_reg_write_byte_dt(&charger, BQ25895_REG_ICHG, encode_ichg(ichg_ma));
	if (err) {
		return err;
	}

	/*
	 * REG05: IPRECHG + ITERM. Chip minimum is 64 mA (~0.32C on 200 mAh);
	 * that is the gentlest termination the BQ25895 allows.
	 */
	reg = (uint8_t)((encode_ipreterm_nibble(iterm_ma) << BQ25895_IPRECHG_SHIFT) |
			encode_ipreterm_nibble(iterm_ma));
	err = i2c_reg_write_byte_dt(&charger, BQ25895_REG_IPRETERM, reg);
	if (err) {
		return err;
	}

	/*
	 * REG06: force VREG=4.208 V and 200 mV recharge hysteresis.
	 * Leaving POR defaults alone previously allowed early "done" near ~4.1 V
	 * when ITERM (chip min 64 mA) tripped in CV on small packs.
	 */
	reg = (uint8_t)((BQ25895_VREG_4208_MV_CODE << 2) | BQ25895_VRECHG);
	err = i2c_reg_write_byte_dt(&charger, BQ25895_REG_CHG_VOLT, reg);
	if (err) {
		return err;
	}

	err = i2c_reg_read_byte_dt(&charger, BQ25895_REG_TIMER, &reg);
	if (err) {
		return err;
	}
	/* Disable I2C watchdog so a POR/default restore cannot re-enable HVDCP/OTG. */
	reg &= (uint8_t)~BQ25895_WATCHDOG_MASK;
	/*
	 * Chip ITERM floor is 64 mA. On a 200 mAh cell that is ~0.32C, so CV
	 * terminates around ~4.1 V before reaching VREG. When 0.1C < 64 mA
	 * (capacity < 640 mAh), disable current-based termination and let CV
	 * regulate up to VREG; the safety timer still bounds charge time.
	 */
	if (BQ25895_BATT_CAPACITY_MAH < 640U) {
		reg &= (uint8_t)~BQ25895_EN_TERM;
	} else {
		reg |= BQ25895_EN_TERM;
	}
	err = i2c_reg_write_byte_dt(&charger, BQ25895_REG_TIMER, reg);
	if (err) {
		return err;
	}

	HUB_INF("BQ25895 batt %u mAh @ %u mC → ICHG=%u mA ITERM/IPRE=%u mA "
		"IINLIM=%u mA VREG=4208mV EN_TERM=%u\n",
		(unsigned int)BQ25895_BATT_CAPACITY_MAH,
		(unsigned int)BQ25895_CHARGE_RATE_MILLIC, ichg_ma, iterm_ma,
		BQ25895_IINLIM_TARGET_MA,
		(BQ25895_BATT_CAPACITY_MAH < 640U) ? 0U : 1U);
	return 0;
}

/* Cheap check: only rewrite when POR/default bits came back. */
static int bq25895_ensure_safe_config(void)
{
	uint8_t reg02;
	uint8_t reg03;
	uint8_t reg04;
	uint8_t reg06;
	uint8_t reg07;
	uint8_t expect_ichg;
	uint8_t expect_vreg;
	bool want_term;
	int err;

	err = i2c_reg_read_byte_dt(&charger, BQ25895_REG_ADC_CTRL, &reg02);
	if (err) {
		return err;
	}
	err = i2c_reg_read_byte_dt(&charger, BQ25895_REG_SYS_CTRL, &reg03);
	if (err) {
		return err;
	}
	err = i2c_reg_read_byte_dt(&charger, BQ25895_REG_ICHG, &reg04);
	if (err) {
		return err;
	}
	err = i2c_reg_read_byte_dt(&charger, BQ25895_REG_CHG_VOLT, &reg06);
	if (err) {
		return err;
	}
	err = i2c_reg_read_byte_dt(&charger, BQ25895_REG_TIMER, &reg07);
	if (err) {
		return err;
	}

	expect_ichg = encode_ichg(profile_ichg_ma());
	expect_vreg = (uint8_t)(BQ25895_VREG_4208_MV_CODE << 2);
	want_term = (BQ25895_BATT_CAPACITY_MAH >= 640U);

	if (((reg02 & BQ25895_ADC_CONV_RATE) == 0U) ||
	    ((reg02 & (BQ25895_ICO_EN | BQ25895_HVDCP_EN | BQ25895_MAXC_EN)) != 0U) ||
	    ((reg03 & BQ25895_OTG_CONFIG) == 0U) ||
	    ((reg03 & BQ25895_CHG_CONFIG) == 0U) ||
	    ((reg04 & BQ25895_ICHG_MASK) != expect_ichg) ||
	    ((reg06 & BQ25895_VREG_MASK) != expect_vreg) ||
	    (((reg07 & BQ25895_EN_TERM) != 0U) != want_term)) {
		HUB_WRN("BQ25895 defaults restored — reapplying safe config\n");
		return bq25895_apply_safe_config();
	}

	return 0;
}

int bq25895_init(void)
{
	uint8_t reg;
	int err;

	if (!device_is_ready(charger.bus)) {
		HUB_ERR("BQ25895 I2C bus not ready\n");
		return -ENODEV;
	}

	HUB_INF("BQ25895 probe on %s addr 0x%02x\n", charger.bus->name, charger.addr);

	/* Probe: a successful register read means the charger ACKs. */
	err = i2c_reg_read_byte_dt(&charger, BQ25895_REG_CHG_STATUS, &reg);
	if (err) {
		HUB_ERR("BQ25895 not responding at 0x%02x (err %d)\n",
		       charger.addr, err);
		bq25895_i2c_scan();
		return -ENODEV;
	}

	err = bq25895_apply_safe_config();
	if (err) {
		HUB_ERR("BQ25895 safe config failed (err %d)\n", err);
		return err;
	}

	err = bq25895_irq_init();
	if (err) {
		return err;
	}

	/* Clear any latched fault so subsequent INT pulses are not blocked. */
	(void)i2c_reg_read_byte_dt(&charger, BQ25895_REG_FAULT, &reg);
	(void)i2c_reg_read_byte_dt(&charger, BQ25895_REG_FAULT, &reg);

	HUB_INF("BQ25895 ready (HVDCP/MAXC/ICO off, OTG on, WD off, VRECHG=200mV, "
		"profile %umAh)\n",
		(unsigned int)BQ25895_BATT_CAPACITY_MAH);
	return 0;
}

int bq25895_read(struct bq25895_status *out)
{
	uint8_t status_reg;
	uint8_t reg;
	uint8_t fault_live;
	int err;

	if (out == NULL) {
		return -EINVAL;
	}

	/* Re-apply if a POR restored chip defaults (HVDCP/OTG back on). */
	(void)bq25895_ensure_safe_config();

	err = i2c_reg_read_byte_dt(&charger, BQ25895_REG_CHG_STATUS, &status_reg);
	if (err) {
		return err;
	}
	out->vbus_state = (enum bq25895_vbus_state)((status_reg >> 5) & 0x07U);
	out->charge_state = (enum bq25895_charge_state)((status_reg >> 3) & 0x03U);
	out->power_good = (status_reg & BIT(2)) != 0U;

	/* 1st REG0C = latched since last read (what caused INT); 2nd = live. */
	err = i2c_reg_read_byte_dt(&charger, BQ25895_REG_FAULT, &out->fault);
	if (err) {
		return err;
	}
	err = i2c_reg_read_byte_dt(&charger, BQ25895_REG_FAULT, &fault_live);
	if (err) {
		return err;
	}
	ARG_UNUSED(fault_live);

	err = i2c_reg_read_byte_dt(&charger, BQ25895_REG_BATV, &reg);
	if (err) {
		return err;
	}
	out->batt_mv = BQ25895_BATV_OFFSET_MV +
		       (uint16_t)(reg & 0x7FU) * BQ25895_BATV_STEP_MV;
	out->battery_pct = soc_from_mv(out->batt_mv);

	err = i2c_reg_read_byte_dt(&charger, BQ25895_REG_SYSV, &reg);
	if (err) {
		return err;
	}
	out->sys_mv = BQ25895_SYSV_OFFSET_MV +
		      (uint16_t)(reg & 0x7FU) * BQ25895_SYSV_STEP_MV;

	err = i2c_reg_read_byte_dt(&charger, BQ25895_REG_VBUSV, &reg);
	if (err) {
		return err;
	}
	out->vbus_present = (reg & BIT(7)) != 0U;
	if ((reg & 0x7FU) != 0U) {
		out->vbus_mv = BQ25895_VBUSV_OFFSET_MV +
			       (uint16_t)(reg & 0x7FU) * BQ25895_VBUSV_STEP_MV;
	} else {
		out->vbus_mv = 0U;
	}

	err = i2c_reg_read_byte_dt(&charger, BQ25895_REG_ICHGR, &reg);
	if (err) {
		return err;
	}
	out->charge_ma = (uint16_t)(reg & 0x7FU) * BQ25895_ICHGR_STEP_MA;

	/*
	 * With EN_TERM cleared (small packs), CHRG_STAT never goes to DONE.
	 * Treat near-VREG + tiny ICHGR as full for the phone UI.
	 */
	if (BQ25895_BATT_CAPACITY_MAH < 640U && out->vbus_present &&
	    out->charge_state == BQ25895_CHG_FAST_CHARGING &&
	    out->batt_mv >= 4180U && out->charge_ma <= 50U) {
		out->charge_state = BQ25895_CHG_DONE;
	}

	return 0;
}

int bq25895_reg_read(uint8_t reg, uint8_t *value)
{
	if (value == NULL || reg > 0x14U) {
		return -EINVAL;
	}
	if (!device_is_ready(charger.bus)) {
		return -ENODEV;
	}
	return i2c_reg_read_byte_dt(&charger, reg, value);
}

int bq25895_reg_write(uint8_t reg, uint8_t value)
{
	if (reg > 0x14U) {
		return -EINVAL;
	}
	if (!device_is_ready(charger.bus)) {
		return -ENODEV;
	}
	return i2c_reg_write_byte_dt(&charger, reg, value);
}

int bq25895_reg_dump(uint8_t start, uint8_t end, uint8_t *buf, size_t count)
{
	int err;

	if (buf == NULL || start > end || end > 0x14U) {
		return -EINVAL;
	}
	if (count < (size_t)(end - start + 1U)) {
		return -ENOMEM;
	}
	if (!device_is_ready(charger.bus)) {
		return -ENODEV;
	}

	for (uint8_t reg = start; reg <= end; reg++) {
		err = i2c_reg_read_byte_dt(&charger, reg, &buf[reg - start]);
		if (err) {
			return err;
		}
	}
	return 0;
}

void bq25895_log_dump(void)
{
	uint8_t regs[0x15];
	uint8_t reg0b;
	uint8_t fault;
	uint8_t chrg;
	uint8_t ntc;
	int err;

	err = bq25895_reg_dump(0x00, 0x14, regs, sizeof(regs));
	if (err) {
		HUB_FORCE("BQ25895 dump failed: %d\n", err);
		return;
	}

	HUB_FORCE("==== BQ25895 REG00..REG14 ====\n");
	for (uint8_t reg = 0; reg <= 0x14U; reg++) {
		HUB_FORCE("  REG%02X = 0x%02x\n", reg, regs[reg]);
	}

	reg0b = regs[0x0B];
	fault = regs[0x0C];
	chrg = (fault >> 4) & 0x03U;
	ntc = fault & 0x07U;

	HUB_FORCE("---- STATUS REG0B=0x%02x ----\n", reg0b);
	HUB_FORCE("  VBUS_STAT=%u (%s) CHRG_STAT=%u (%s) PG=%u\n",
	       (reg0b >> 5) & 0x07U,
	       bq25895_vbus_state_str((enum bq25895_vbus_state)((reg0b >> 5) & 0x07U)),
	       (reg0b >> 3) & 0x03U,
	       bq25895_charge_state_str((enum bq25895_charge_state)((reg0b >> 3) & 0x03U)),
	       (reg0b >> 2) & 0x01U);

	HUB_FORCE("---- FAULT REG0C=0x%02x ----\n", fault);
	if (fault == 0U) {
		HUB_FORCE("  (no fault)\n");
	} else {
		if (fault & BIT(7)) {
			HUB_FORCE("  WATCHDOG_FAULT\n");
		}
		if (fault & BIT(6)) {
			HUB_FORCE("  BOOST/OTG_FAULT\n");
		}
		switch (chrg) {
		case 1:
			HUB_FORCE("  CHRG_FAULT: input (VBUS OVP / bad source)\n");
			break;
		case 2:
			HUB_FORCE("  CHRG_FAULT: thermal shutdown\n");
			break;
		case 3:
			HUB_FORCE("  CHRG_FAULT: safety timer expired\n");
			break;
		default:
			break;
		}
		if (fault & BIT(3)) {
			HUB_FORCE("  BAT_FAULT (OVP)\n");
		}
		switch (ntc) {
		case 1:
			HUB_FORCE("  NTC_FAULT: TS cold\n");
			break;
		case 2:
			HUB_FORCE("  NTC_FAULT: TS hot\n");
			break;
		case 5:
			HUB_FORCE("  NTC_FAULT: TS cold (boost)\n");
			break;
		case 6:
			HUB_FORCE("  NTC_FAULT: TS hot (boost)\n");
			break;
		default:
			break;
		}
	}
	HUB_FORCE("Hint: STAT ~1Hz blink usually means REG0C fault (NTC/TS common).\n");
	HUB_FORCE("==== end BQ25895 dump ====\n");
}

void bq25895_i2c_scan(void)
{
	uint8_t dst;
	int found = 0;
	int err;

	if (!device_is_ready(charger.bus)) {
		HUB_FORCE("I2C bus not ready for scan\n");
		return;
	}

	HUB_FORCE("I2C scan 0x08..0x77 on %s:\n", charger.bus->name);
	for (uint16_t addr = 0x08; addr <= 0x77; addr++) {
		err = i2c_read(charger.bus, &dst, 1, addr);
		if (err == 0) {
			HUB_FORCE("  ACK at 0x%02x\n", addr);
			found++;
		}
	}
	if (found == 0) {
		HUB_FORCE("  (no devices ACK — check REGN/VBUS power, SDA/SCL "
		       "solder & pull-ups, SCL=P1.11 SDA=P1.12)\n");
	} else {
		HUB_FORCE("  %d device(s) found (BQ25895 should be 0x6a)\n", found);
	}
}

#else /* No BQ25895 in devicetree */

bool bq25895_available(void)
{
	return false;
}

bool bq25895_irq_ready(void)
{
	return false;
}

void bq25895_set_event_cb(bq25895_event_cb_t cb)
{
	ARG_UNUSED(cb);
}

int bq25895_init(void)
{
	HUB_ERR("No BQ25895 charger in devicetree\n");
	return -ENODEV;
}

int bq25895_read(struct bq25895_status *out)
{
	ARG_UNUSED(out);
	return -ENODEV;
}

int bq25895_reg_read(uint8_t reg, uint8_t *value)
{
	ARG_UNUSED(reg);
	ARG_UNUSED(value);
	return -ENODEV;
}

int bq25895_reg_write(uint8_t reg, uint8_t value)
{
	ARG_UNUSED(reg);
	ARG_UNUSED(value);
	return -ENODEV;
}

int bq25895_reg_dump(uint8_t start, uint8_t end, uint8_t *buf, size_t count)
{
	ARG_UNUSED(start);
	ARG_UNUSED(end);
	ARG_UNUSED(buf);
	ARG_UNUSED(count);
	return -ENODEV;
}

void bq25895_log_dump(void)
{
	HUB_FORCE("BQ25895 not in devicetree\n");
}

void bq25895_i2c_scan(void)
{
	HUB_FORCE("BQ25895 not in devicetree\n");
}

#endif /* DT_HAS_ALIAS(battery_charger) */

const char *bq25895_charge_state_str(enum bq25895_charge_state state)
{
	switch (state) {
	case BQ25895_CHG_PRE_CHARGE:
		return "pre-charge";
	case BQ25895_CHG_FAST_CHARGING:
		return "charging";
	case BQ25895_CHG_DONE:
		return "done";
	default:
		return "not-charging";
	}
}

const char *bq25895_vbus_state_str(enum bq25895_vbus_state state)
{
	switch (state) {
	case BQ25895_VBUS_USB_SDP:
		return "USB-SDP";
	case BQ25895_VBUS_USB_CDP:
		return "USB-CDP";
	case BQ25895_VBUS_USB_DCP:
		return "USB-DCP";
	case BQ25895_VBUS_MAXCHARGE:
		return "MaxCharge";
	case BQ25895_VBUS_UNKNOWN:
		return "adapter";
	case BQ25895_VBUS_NONSTANDARD:
		return "non-std";
	case BQ25895_VBUS_OTG:
		return "OTG";
	default:
		return "none";
	}
}
```

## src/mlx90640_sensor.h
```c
/*
 * High-level MLX90640 helper for the portable thermal camera.
 *
 * SPDX-License-Identifier: LicenseRef-Nordic-5-Clause
 */

#ifndef MLX90640_SENSOR_H_
#define MLX90640_SENSOR_H_

#include <stdbool.h>
#include <stdint.h>

#define MLX90640_WIDTH  32
#define MLX90640_HEIGHT 24
#define MLX90640_PIXELS (MLX90640_WIDTH * MLX90640_HEIGHT)

/** Temperature in centi-degrees Celsius (0.01 °C). */
typedef int16_t mlx_temp_cC_t;

struct mlx90640_frame {
	mlx_temp_cC_t pixels[MLX90640_PIXELS];
	mlx_temp_cC_t ta_cC;
	mlx_temp_cC_t tmin_cC;
	mlx_temp_cC_t tmax_cC;
	uint16_t seq;
};

bool mlx90640_available(void);
int mlx90640_init(void);

/**
 * Capture one complete thermal frame (both subpages) into @p out.
 * Blocking; typically ~500 ms at 2 Hz refresh.
 */
int mlx90640_capture(struct mlx90640_frame *out);

/** Refresh rate code: 0=0.5Hz … 5=16Hz (Melexis encoding). Default 2 (=2 Hz). */
int mlx90640_set_refresh_rate(uint8_t rate_code);

#endif /* MLX90640_SENSOR_H_ */
```
